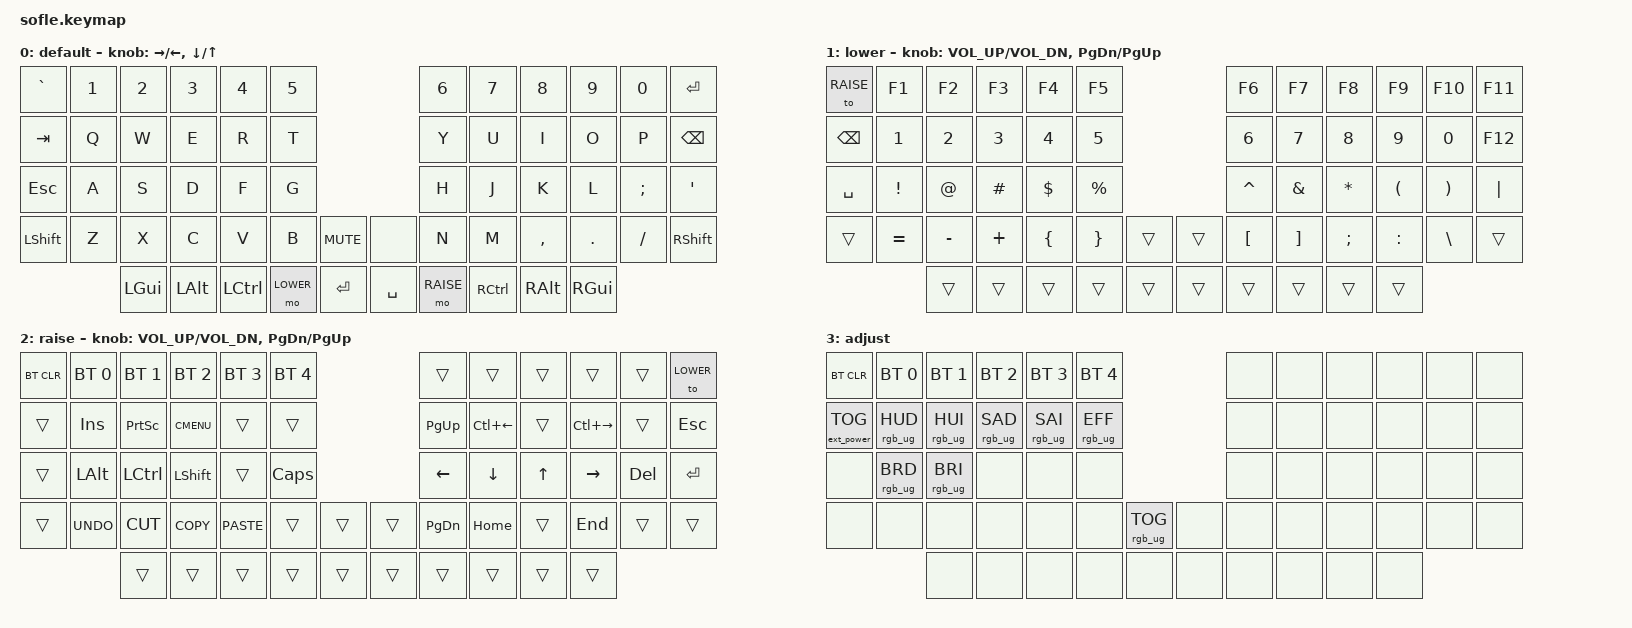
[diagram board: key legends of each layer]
/*
 * Copyright (c) 2020 The ZMK Contributors
 *
 * SPDX-License-Identifier: MIT
 */

#include <behaviors.dtsi>
#include <dt-bindings/zmk/keys.h>
#include <dt-bindings/zmk/bt.h>
#include <dt-bindings/zmk/rgb.h>
#include <dt-bindings/zmk/ext_power.h>

#define BASE 0
#define LOWER 1
#define RAISE 2
#define ADJUST 3

// Encoder resolutions
&left_encoder { steps = <30>; };
&right_encoder { steps = <30>; };

/ {

   // Activate ADJUST layer by pressing raise and lower
    conditional_layers {
        compatible = "zmk,conditional-layers";
        adjust_layer {
            if-layers = <LOWER RAISE>;
            then-layer = <ADJUST>;
        };
    };

    keymap {
        compatible = "zmk,keymap";

        default_layer {
            display-name = "default";
// ------------------------------------------------------------------------------------------------------------
// |   `   |  1  |  2  |  3   |  4   |  5   |                   |  6   |  7    |  8    |  9   |   0   |  RET  |
// |  TAB  |  Q  |  W  |  E   |  R   |  T   |                   |  Y   |  U    |  I    |  O   |   P   | BKSPC |
// |  ESC  |  A  |  S  |  D   |  F   |  G   |                   |  H   |  J    |  K    |  L   |   ;   |   '   |
// | SHIFT |  Z  |  X  |  C   |  V   |  B   |  MUTE  |  |       |  N   |  M    |  ,    |  .   |   /   | SHIFT |
//               | GUI | ALT  | CTRL | LOWER|  ENTER |  | SPACE | RAISE| CTRL  | ALT   | GUI  |
            bindings = <
&kp GRAVE &kp N1 &kp N2   &kp N3   &kp N4    &kp N5                           &kp N6 &kp N7    &kp N8    &kp N9   &kp N0   &kp RET
&kp TAB   &kp Q  &kp W    &kp E    &kp R     &kp T                            &kp Y  &kp U     &kp I     &kp O    &kp P    &kp BSPC
&kp ESC   &kp A  &kp S    &kp D    &kp F     &kp G                            &kp H  &kp J     &kp K     &kp L    &kp SEMI &kp SQT
&kp LSHFT &kp Z  &kp X    &kp C    &kp V     &kp B      &kp C_MUTE &none      &kp N  &kp M     &kp COMMA &kp DOT  &kp FSLH &kp RSHFT
                 &kp LGUI &kp LALT &kp LCTRL &mo LOWER  &kp RET    &kp SPACE  &mo RAISE  &kp RCTRL &kp RALT  &kp RGUI
            >;

            sensor-bindings = <&inc_dec_kp RIGHT_ARROW LEFT_ARROW &inc_dec_kp DOWN_ARROW UP_ARROW>;
        };

        lower_layer {
            display-name = "lower";
// TODO: Some binds are waiting for shifted keycode support.
// ------------------------------------------------------------------------------------------------------------
// | RAISE |  F1 |  F2 |  F3  |  F4  |  F5  |                   |  F6  |  F7   |  F8   |  F9  |  F10  |  F11  |
// | BSPC  |  1  |  2  |  3   |  4   |  5   |                   |  6   |  7    |  8    |  9   |   0   |  F12  |
// | SPACE |  !  |  @  |  #   |  $   |  %   |                   |  ^   |  &    |  *    |  (   |   )   |   |   |
// |       |  =  |  -  |  +   |  {   |  }   |        |  |       |  [   |  ]    |  ;    |  :   |   \   |       |
//               |     |      |      |      |        |  |       |      |       |       |      |
            bindings = <
&to RAISE  &kp F1    &kp F2    &kp F3     &kp F4    &kp F5                    &kp F6    &kp F7   &kp F8    &kp F9    &kp F10   &kp F11
&kp BSPC   &kp N1    &kp N2    &kp N3     &kp N4    &kp N5                    &kp N6    &kp N7   &kp N8    &kp N9    &kp N0    &kp F12
&kp SPACE  &kp EXCL  &kp AT    &kp HASH   &kp DLLR  &kp PRCNT                 &kp CARET &kp AMPS &kp ASTRK &kp LPAR  &kp RPAR  &kp PIPE
&trans     &kp EQUAL &kp MINUS &kp PLUS   &kp LBRC  &kp RBRC   &trans &trans  &kp LBKT  &kp RBKT &kp SEMI  &kp COLON &kp BSLH  &trans
                     &trans    &trans     &trans    &trans     &trans &trans  &trans    &trans   &trans    &trans
            >;

            sensor-bindings = <&inc_dec_kp C_VOL_UP C_VOL_DN &inc_dec_kp PG_DN PG_UP>;
        };

        raise_layer {
            display-name = "raise";
// ----------------------------------------------------------------------------------------------------------------
// | BTCLR | BT1  | BT2  |  BT3  |  BT4  |  BT5 |                |      |        |       |        |       | LOWER |
// |       | INS  | PSCR | GUI   |       |      |                | PGUP | LC(<-) |       | LC(->) |       |  ESC  |
// |       | ALT  | CTRL | SHIFT |       | CAPS |                | <-   |   v    |   ^   |  ->    |  DEL  |  RET  |
// |       | UNDO | CUT  | COPY  | PASTE |      |      |  |      | PGDN |  HOME  |       |  END   |       |       |
//                |      |       |       |      |      |  |      |      |        |       |        |
            bindings = <
&bt BT_CLR &bt BT_SEL 0 &bt BT_SEL 1 &bt BT_SEL 2 &bt BT_SEL 3 &bt BT_SEL 4                  &trans    &trans       &trans    &trans        &trans    &to LOWER
&trans     &kp INS      &kp PSCRN    &kp K_CMENU  &trans       &trans                        &kp PG_UP &kp LC(LEFT) &trans    &kp LC(RIGHT) &trans    &kp ESC 
&trans     &kp LALT     &kp LCTRL    &kp LSHFT    &trans       &kp CLCK                      &kp LEFT  &kp DOWN     &kp UP    &kp RIGHT     &kp DEL   &kp RET 
&trans     &kp K_UNDO   &kp K_CUT    &kp K_COPY   &kp K_PASTE  &trans        &trans  &trans  &kp PG_DN &kp HOME     &trans    &kp END       &trans    &trans
                        &trans       &trans       &trans       &trans        &trans  &trans  &trans    &trans       &trans    &trans
            >;

            sensor-bindings = <&inc_dec_kp C_VOL_UP C_VOL_DN &inc_dec_kp PG_DN PG_UP>;
        };

        adjust_layer {
// ----------------------------------------------------------------------------------------------------------------------------
// | BTCLR  |  BT1    |  BT2    |   BT3   |   BT4   |   BT5   |                  |      |      |       |      |       |       |
// | EXTPWR | RGB_HUD | RGB_HUI | RGB_SAD | RGB_SAI | RGB_EFF |                  |      |      |       |      |       |       |
// |        | RGB_BRD | RGB_BRI |         |         |         |                  |      |      |       |      |       |       |
// |        |         |         |         |         |         | RGB_TOG | |      |      |      |       |      |       |       |
//                    |         |         |         |         |         | |      |      |      |       |      |
            display-name = "adjust";
            bindings = <
&bt BT_CLR        &bt BT_SEL 0    &bt BT_SEL 1    &bt BT_SEL 2    &bt BT_SEL 3    &bt BT_SEL 4                            &none &none &none &none &none &none
&ext_power EP_TOG &rgb_ug RGB_HUD &rgb_ug RGB_HUI &rgb_ug RGB_SAD &rgb_ug RGB_SAI &rgb_ug RGB_EFF                         &none &none &none &none &none &none
&none             &rgb_ug RGB_BRD &rgb_ug RGB_BRI &none           &none           &none                                   &none &none &none &none &none &none
&none             &none           &none           &none           &none           &none            &rgb_ug RGB_TOG &none  &none &none &none &none &none &none
                                  &none           &none           &none           &none            &none           &none  &none &none &none &none
            >;
        };

    };
};
